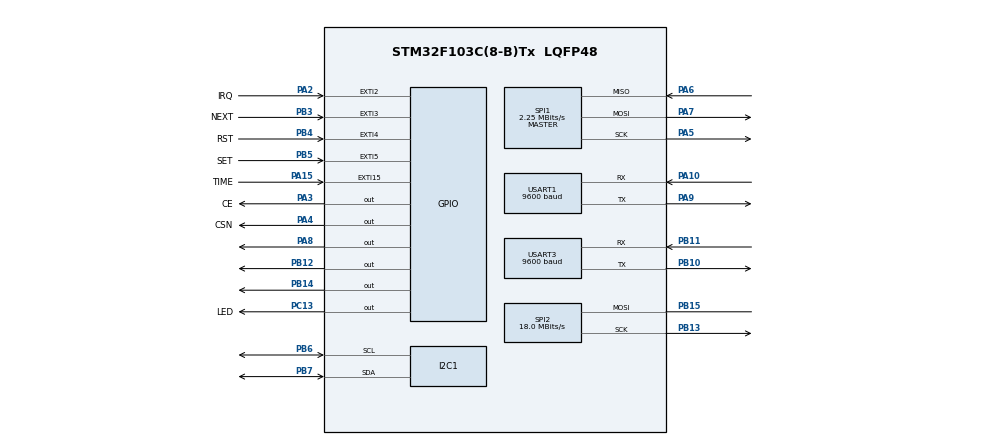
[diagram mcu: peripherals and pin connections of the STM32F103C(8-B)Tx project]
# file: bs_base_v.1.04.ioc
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Mcu.Family=STM32F1
Mcu.Name=STM32F103C(8-B)Tx
Mcu.Package=LQFP48
NVIC.EXTI15_10_IRQn=true\:2\:0\:true\:false\:true\:true\:true\:true
NVIC.EXTI2_IRQn=true\:0\:0\:false\:false\:true\:true\:true\:true
NVIC.EXTI3_IRQn=true\:2\:0\:true\:false\:true\:true\:true\:true
NVIC.EXTI4_IRQn=true\:2\:0\:true\:false\:true\:true\:true\:true
NVIC.EXTI9_5_IRQn=true\:2\:0\:true\:false\:true\:true\:true\:true
NVIC.PriorityGroup=NVIC_PRIORITYGROUP_4
NVIC.TIM1_UP_IRQn=true\:1\:0\:true\:false\:true\:true\:true\:true
NVIC.TIM2_IRQn=true\:1\:0\:true\:false\:true\:true\:true\:true
NVIC.USART1_IRQn=true\:1\:0\:true\:false\:true\:true\:true\:true
PA10.Mode=Asynchronous
PA10.Signal=USART1_RX
PA13.Mode=Serial_Wire
PA13.Signal=SYS_JTMS-SWDIO
PA14.Mode=Serial_Wire
PA14.Signal=SYS_JTCK-SWCLK
PA15.GPIO_Label=TIME
PA15.GPIO_ModeDefaultEXTI=GPIO_MODE_IT_FALLING
PA15.GPIO_PuPd=GPIO_PULLUP
PA15.Signal=GPXTI15
PA2.GPIO_Label=IRQ
PA2.GPIO_ModeDefaultEXTI=GPIO_MODE_IT_FALLING
PA2.Signal=GPXTI2
PA3.GPIO_Label=CE
PA3.Signal=GPIO_Output
PA4.GPIO_Label=CSN
PA4.Signal=GPIO_Output
PA5.Mode=Full_Duplex_Master
PA5.Signal=SPI1_SCK
PA6.Mode=Full_Duplex_Master
PA6.Signal=SPI1_MISO
PA7.Mode=Full_Duplex_Master
PA7.Signal=SPI1_MOSI
PA8.Signal=GPIO_Output
PA9.Mode=Asynchronous
PA9.Signal=USART1_TX
PB10.Mode=Asynchronous
PB10.Signal=USART3_TX
PB11.Mode=Asynchronous
PB11.Signal=USART3_RX
PB12.Signal=GPIO_Output
PB13.Mode=Simplex_Bidirectional_Master
PB13.Signal=SPI2_SCK
PB14.Signal=GPIO_Output
PB15.Mode=Simplex_Bidirectional_Master
PB15.Signal=SPI2_MOSI
PB3.GPIO_Label=NEXT
PB3.GPIO_ModeDefaultEXTI=GPIO_MODE_IT_FALLING
PB3.GPIO_PuPd=GPIO_PULLUP
PB3.Signal=GPXTI3
PB4.GPIO_Label=RST
PB4.GPIO_ModeDefaultEXTI=GPIO_MODE_IT_FALLING
PB4.GPIO_PuPd=GPIO_PULLUP
PB4.Signal=GPXTI4
PB5.GPIO_Label=SET
PB5.GPIO_ModeDefaultEXTI=GPIO_MODE_IT_FALLING
PB5.GPIO_PuPd=GPIO_PULLUP
PB5.Signal=GPXTI5
PB6.Mode=I2C
PB6.Signal=I2C1_SCL
PB7.Mode=I2C
PB7.Signal=I2C1_SDA
PC13-TAMPER-RTC.GPIO_Label=LED
PC13-TAMPER-RTC.Signal=GPIO_Output
PD0-OSC_IN.Mode=HSE-External-Oscillator
PD0-OSC_IN.Signal=RCC_OSC_IN
PD1-OSC_OUT.Mode=HSE-External-Oscillator
PD1-OSC_OUT.Signal=RCC_OSC_OUT
ProjectManager.HeapSize=0x200
ProjectManager.StackSize=0x400
ProjectManager.TargetToolchain=STM32CubeIDE
RCC.ADCPresc=RCC_ADCPCLK2_DIV6
RCC.AHBFreq_Value=72000000
RCC.APB1CLKDivider=RCC_HCLK_DIV2
RCC.APB1Freq_Value=36000000
RCC.APB1TimFreq_Value=72000000
RCC.APB2Freq_Value=72000000
RCC.APB2TimFreq_Value=72000000
RCC.HCLKFreq_Value=72000000
RCC.PLLMUL=RCC_PLL_MUL9
RCC.PLLSourceVirtual=RCC_PLLSOURCE_HSE
RCC.SYSCLKFreq_VALUE=72000000
RCC.SYSCLKSource=RCC_SYSCLKSOURCE_PLLCLK
RCC.USBFreq_Value=72000000
SPI1.BaudRatePrescaler=SPI_BAUDRATEPRESCALER_32
SPI1.CalculateBaudRate=2.25 MBits/s
SPI1.Direction=SPI_DIRECTION_2LINES
SPI1.Mode=SPI_MODE_MASTER
SPI1.VirtualType=VM_MASTER
SPI2.CalculateBaudRate=18.0 MBits/s
SPI2.Direction=SPI_DIRECTION_1LINE
SPI2.Mode=SPI_MODE_MASTER
SPI2.VirtualType=VM_MASTER
TIM1.AutoReloadPreload=TIM_AUTORELOAD_PRELOAD_ENABLE
TIM1.ClockDivision=TIM_CLOCKDIVISION_DIV1
TIM1.Period=7199
TIM1.Prescaler=10000
TIM2.Period=6539
TIM2.Prescaler=10
USART1.BaudRate=9600
USART1.VirtualMode=VM_ASYNC
USART3.BaudRate=9600
USART3.VirtualMode=VM_ASYNC
VP_IWDG_VS_IWDG.Mode=IWDG_Activate
VP_TIM1_VS_ClockSourceINT.Mode=Internal
VP_TIM2_VS_ClockSourceINT.Mode=Internal
board=custom

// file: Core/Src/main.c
/* USER CODE BEGIN Header */
/**
  ******************************************************************************
  * main.c
	*
	* Проект "КомБО" (Открытые системы беспроводной коммуникации)
	* База электронной системы для проведения интеллектуальных игр
	*	Количество игровых кнопок - 20.
	* Основной код программы.
	* Микроконтроллер: stm32f103c8t6
	* Периферия: радиомодуль nrf24l01+, дисплей (LCD2004 или ST7735),
	* кнопки управления (4 шт), mp3 модуль DFPlayer, мост USB-UART.
	*
	* Краткое описание работы:
	* После включения питания, инициализации периферии и переменных производится
	* проверка соединения с радиомодулем, соответствующая сигнализация (вывод
	* информации об устройстве, версия прошивки, статус соединения)
	* Затем всем кнопкам отправляется команда общего сброса.
	* В процессе работы происходит периодическая отправка запросов и команд всем
	* игровым кнопкам, проверка состояний кнопок управления, формирование очереди
	* нажатий, вывод информации на дисплей,
	* При получении ответов на запросы кнопок, фиксируются данные об их состоянии
	* При нажатии кнопки управления "сброс" происходит отправка команды общего
	* сброса всем кнопкам, а также сброс состояния базы - возвращение в исходное
	* состояние.
	* При нажатии кнопки "далее" происходит смещение очереди нажатий.
	* Команды "сброс" и "далее" могут быть также получены по последовательному порту,
	* действия при получении их аналогичны нажатиям соответствующих кнопок управления.
	* При нажатии кнопки "время", запускается таймер отсчета секунд, воспроизводится
	* соответствующий звуковой файл.
	* При нажатии команды "установка" меняется номер файла, воспроизводимого
	* звуковым модулем при обнаружении нажатия игровой кнопки до пуска времени.
	* При обнаружении нажатия игровой кнопки происходит воспроизведение звукового
	* файла и отправка соответствующего кнопке символа в последовательный порт.
	*
  ******************************************************************************
  */
/* USER CODE END Header */
#include "main.h"
#include "i2c.h"
#include "iwdg.h"
#include "spi.h"
#include "tim.h"
#include "usart.h"
#include "gpio.h"

/* USER CODE BEGIN PV */

//переменные и массивы
char str[STRING_SIZE]								= {0};				//строка для вывода в порт
char input_str[STRING_SIZE] 				= {0};				//входящая строка
char char_to_send[NUM_OF_SLAVES] 		= CHARS_LIST;	//массив символов для отправки в порт
uint8_t slave_addrs[NUM_OF_SLAVES] 	= ADRESS_LIST;//массив адресов
uint8_t slave_nums[NUM_OF_SLAVES] 	= NUM_LIST;		//массив номеров

//строки для вывода на дисплей LCD2004
#if NUM_OF_SLAVES == 20

char string_0[] 	= "0123456789abcdefghij";
char string_1[] 	= "                    ";
char string_2[] 	= "                    ";
char string_3[] 	= "            BS KomBO";

#elif NUM_OF_SLAVES == 6

char string_0[] 	= "  1  2  3  4  5  6  ";
char string_1[] 	= "                    ";
char string_2[] 	= "                    ";
char string_3[] 	= "            BS KomBO";

#endif

//строки для вывода на дисплей st7735
char w_string_1[] = "          ";
char w_string_2[] = "          ";

//внешние переменные для работы с радиомодулем
extern uint8_t 					tx_buf[TX_PLOAD_WIDTH];	//буфер передачи
extern uint8_t 					rx_buf[TX_PLOAD_WIDTH];	//буфер приема
extern volatile uint8_t f_rx, f_tx;							//флаги приема и передачи

//структура флагов устройства
volatile Flags_t 			flags;
volatile Variables_t 	vars;

//массив структур данных кнопок
B_data_t							b_data[NUM_OF_SLAVES];

//структура для преобразования данных
float_to_byte_t 			float_to_byte;

/* USER CODE END PV */

void SystemClock_Config(void);

/* USER CODE BEGIN 0 */

//Процедура инициализации переменных, флагов, массивов
void init_variables(void)
{
	flags.rst_push 					= 0;
	flags.nxt_push 					= 0;
	flags.set_push 					= 0;
	flags.time_push 				= 0;
	flags.f_timer 					= 0;

	vars.seconds 						= 0;
	vars.temp_seconds 			= 0;
	vars.millis 						= 0;
	vars.slave_counter 			= 0;
	vars.send_order_count		= 1;
	vars.bounce_count = 0;

	for (uint8_t i = 0; i < NUM_OF_SLAVES; i++)
	{
		b_data[i].number 			= i;
		b_data[i].address 		= slave_addrs[i];
		b_data[i].time 				= MAX_TIME;
		b_data[i].cmd 				= LED_STAT;
		b_data[i].led_status 	= LED_STAT_OFF;
		b_data[i].push_order 	= 0;
		b_data[i].pushed 			= 0;
	}
}

//Процедура расчета контрольной суммы
uint16_t crc16_calc(volatile uint8_t buf[], uint8_t buf_size)
{
	uint16_t	crc = 0;			// возвращаемое значение
	uint16_t	D;						// �?ндекс элемента массива для наложения
	int16_t 	T;						// Элемент массива для наложения, вычисляется на лету
	uint16_t	P = 0x1021;		// Полином - маска

	for (uint8_t i = 0; i < buf_size; i++)
	{
		D = crc >> 8; 				// Сдвиг crc на 8 бит вправо
		D = D ^ buf[i];				// Вычисление индекса элемента массива для наложения

		T = D;								// Вычисление элемента массива
		T = T << 8;        		// Сдвиг элемента массива на 8 бит влево

		for (uint8_t j = 0; j < 8; j++)    // Повторение 8 раз
		{
			if (T < 0)					// Если старший бит = 1
			{
				T = T << 1;				// Сдвиг элемента массива на 1 бит влево
				T = T ^ P;				// Наложение полинома
			}
			else
			{
				T = T << 1;				// Сдвиг элемента массива на 1 бит влево
			}
		}
		crc = crc << 8;				// Сдвиг С на 8 бит влево
		crc = crc ^ T;				// �?сключающе или между С и элементом массива
	}

	return crc;							// Возврат значения crc
}

//Процедура приема радиомодуля
void nrf24l01_receive(void)
{
	if(f_rx)	//если флаг приема поднят (флаг поднимается по внешнему прерыванию от радиомодуля)
	{
		uint16_t temp_crc = crc16_calc(rx_buf, TX_PLOAD_WIDTH - 2);
		uint16_t input_crc = (uint16_t)rx_buf[TX_PLOAD_WIDTH - 1] + (uint16_t)(rx_buf[TX_PLOAD_WIDTH - 2] << 8);
		if (temp_crc == input_crc)
		{
			for (uint8_t i = 0; i < NUM_OF_SLAVES; i++)
			{	//если найден принятый адрес
				if (rx_buf[0] == slave_addrs[i]) 	//если найден принятый адрес
				{
					float_to_byte.char_val[0] = rx_buf[5];
					float_to_byte.char_val[1] = rx_buf[6];
					float_to_byte.char_val[2] = rx_buf[7];
					float_to_byte.char_val[3] = rx_buf[8];
					b_data[i].vcc = float_to_byte.float_val;

					if ((*(uint32_t*)&rx_buf[1]) != NOT_PUSHED)
					{
						uint32_t time = *(uint32_t*)&rx_buf[1];	//преобразуем оставшиеся байты во время

						if (b_data[i].pushed == 0)
						{
							b_data[i].time = time;
						}
					}
					break;
				}
			}
		}
		f_rx = 0;					//опускаем флаг приема
	}
}

//Процедура обновления дисплея
void refresh_display()
{
	#ifdef LCD_2004
		LCD_Clear();

		LCD_SetPos(0,0);
		LCD_String(string_0);
		LCD_SetPos(0,1);
		LCD_String(string_1);
		LCD_SetPos(0,2);
		LCD_String(string_2);
		LCD_SetPos(0,3);
		LCD_String(string_3);
	#endif

	#ifdef ST_7735

		#if NUM_OF_SLAVES == 20

		ST7735_FillScreen(ST7735_BLACK);

		ST7735_Write_W_String(0, 0,  "0123456789", Font_11x18, ST7735_WHITE, ST7735_BLACK);
		ST7735_Write_W_String(0, 50, "abcdefghij", Font_11x18, ST7735_WHITE, ST7735_BLACK);

		ST7735_WriteString(100, 120, "BS KomBO", Font_7x10, ST7735_WHITE, ST7735_BLACK);

		#elif NUM_OF_SLAVES == 6

		ST7735_FillScreen(ST7735_BLACK);

		ST7735_Write_W_String(0, 0,  "  1  2  3  ", Font_11x18, ST7735_WHITE, ST7735_BLACK);
		ST7735_Write_W_String(0, 50, "  4  5  6  ", Font_11x18, ST7735_WHITE, ST7735_BLACK);

		ST7735_WriteString(100, 120, "BS KomBO", Font_7x10, ST7735_WHITE, ST7735_BLACK);

		#endif

	#endif

	}

//Процедура инициализации дисплея
void display_init(void)
{
	#ifdef LCD_2004
		LCD_init();
	#endif

	#ifdef ST_7735
		ST7735_Init();
		ST7735_FillScreen(ST7735_BLACK);
	#endif
}

//Подпрограмма тестирования радиомодуля
uint8_t nrf_test(void)
{
	uint8_t buf_0[TX_ADR_WIDTH] = {0};
	uint8_t buf_1[TX_ADR_WIDTH] = {0};
	uint8_t test_addr_0[TX_ADR_WIDTH] = UNIQUE_ADDRESS_0;
	uint8_t test_addr_1[TX_ADR_WIDTH] = UNIQUE_ADDRESS_1;

	uint8_t err = ERR_OK;

	//читаем значения регистров

	#ifdef MASTER
		nrf24_read_buf(RX_ADDR_P1,buf_0,3);
		nrf24_read_buf(TX_ADDR,buf_1,3);
	#endif

	#ifdef SLAVE
		nrf24_read_buf(RX_ADDR_P1,buf_1,3);
		nrf24_read_buf(TX_ADDR,buf_0,3);
	#endif

	sprintf(str, "TX_ADDR: 0x%02X, 0x%02X, 0x%02X\r\nRX_ADDR: 0x%02X, 0x%02X, 0x%02X\r\n",
	buf_1[0], buf_1[1], buf_1[2], buf_0[0], buf_0[1], buf_0[2]);

	#ifdef DEBUG_MODE
		usart_print(str);
	#endif

	//проверяем значения регистров записанных при инициализации и считанных

	for (uint8_t i = 0; i < TX_ADR_WIDTH; i++)
	{
		if (test_addr_0[i] != buf_0[i]) err = NRF_ERR;
		if (test_addr_1[i] != buf_1[i]) err = NRF_ERR;
	}

	return err;
}

//Процедура тестирования радиомодуля и сигнализации
void test_and_info(uint8_t err)
{
	sprintf(str, "v. %d.%02d", VERSION, SUBVERSION);

	#ifdef DEBUG_MODE
		usart_println(DEV_INFO);
		usart_println(str);
	#endif

	#ifdef LCD_2004
		LCD_SetPos(0,0);
		LCD_String(DEV_INFO);
		LCD_SetPos(0,1);
		LCD_String(str);
	#endif

	#ifdef ST_7735
		ST7735_WriteString(0, 0, DEV_INFO, Font_11x18, ST7735_WHITE, ST7735_BLACK);
		ST7735_WriteString(0, 20, str, Font_11x18, ST7735_WHITE, ST7735_BLACK);
	#endif

	#ifdef DEBUG_MODE
		usart_println(str);
	#endif

	#ifndef DEBUG_MODE
	LL_IWDG_ReloadCounter(IWDG);
	#endif

	err = nrf_test();		//выводим значения регистров в порт

	if (err == ERR_OK)
	{
		sprintf(str, "%s ch = %d", "nrf24 OK ", CHANNEL);

		#ifdef DEBUG_MODE
			usart_println(str);
		#endif

		#ifdef LCD_2004
			LCD_SetPos(0,2);
			LCD_String(str);
		#endif

		#ifdef ST_7735
			ST7735_WriteString(0, 60, "nrf24 OK", Font_11x18, ST7735_WHITE, ST7735_BLACK);
			sprintf(str, "ch = %d", CHANNEL);
			ST7735_WriteString(0, 80, str, Font_11x18, ST7735_WHITE, ST7735_BLACK);
		#endif
	}
	else  if (err == NRF_ERR)
	{
		#ifdef DEBUG_MODE
			usart_println("nrf ERROR");
		#endif

		#ifdef LCD_2004
			LCD_SetPos(0,2);
			LCD_String("nrf ERROR");
		#endif

		#ifdef ST_7735
			ST7735_WriteString(0, 60, "nrf24 ERROR", Font_11x18, ST7735_WHITE, ST7735_BLACK);
		#endif
	}
}

//Процедура сортировки данных по возрастанию
void sort_data(uint32_t *data)
{
	for(uint8_t i = 0 ; i < NUM_OF_SLAVES - 1; i++)
	{
		for(uint8_t j = 0 ; j < NUM_OF_SLAVES - i - 1 ; j++)
		{
			if(data[j] > data[j+1]) 			//сравниваем два соседних элемента.
			{           									//если они идут в неправильном порядке, то
				uint32_t tmp = data[j];			//меняем их местами.
        data[j] = data[j+1];
        data[j+1] = tmp;
      }
    }
  }
}

//Процедура инициализации модуля DWT
void dwt_init(void)
{
	SCB_DEMCR |= CoreDebug_DEMCR_TRCENA_Msk; // разрешаем использовать счётчик
	DWT_CONTROL |= DWT_CTRL_CYCCNTENA_Msk;   // запускаем счётчик
}

//Процедура микросекундной задержки
void delay_us(uint32_t us)
{
	uint32_t us_count_tic =  us * (SystemCoreClock / 1000000); // получаем кол-во тактов за 1 мкс и умножаем на наше значение
	DWT->CYCCNT = 0U; // обнуляем счётчик
	while(DWT->CYCCNT < us_count_tic);
}

//Процедура отправки общей команды сброса
void reset_all(void)
{
	tx_buf[0] = RESET_CMD;	//

	uint16_t temp_crc = crc16_calc(tx_buf, TX_PLOAD_WIDTH - 2);

	tx_buf[TX_PLOAD_WIDTH - 2] = (uint8_t)(temp_crc >> 8);
	tx_buf[TX_PLOAD_WIDTH - 1] = (uint8_t)temp_crc;

	nrf24_send(tx_buf);						//отправляем посылку в эфир
}

//Процедура псевдослучайного перемешивания данных
void data_mix(uint8_t *data)
{
	uint8_t temp_data[NUM_OF_SLAVES];
	uint8_t i_rnd;

	//прибавляем ко всем элементам 1 потому что алгоритм предполагает отсутствие нулей
	for(uint8_t i = 0; i < NUM_OF_SLAVES; i++)
	{
			if (data[i] != 0xFF) data[i] = data[i] + 1;
	}

	for(uint8_t i = 0 ; i < NUM_OF_SLAVES; i++)
	{
		i_rnd = rand()%NUM_OF_SLAVES;	//генерируем случайный индекс

		while (data[i_rnd] == 0)			//в случае если элемент массива с полученным индексом нулевой
		{
				i_rnd = rand()%NUM_OF_SLAVES;		//генерируем новый случайный индекс пока не найдем ненулевой элемент
		}
		if (data[i_rnd] != 0)
		{
				temp_data[i] = data[i_rnd];	//записываем случайный элемент массива во временный массив
				data[i_rnd] = 0;						//обнуляем сохраненный элемент
		}
	}

	//копируем перемешанные элементы массива обратно в исходный массив, вычитаем единицу
	for(uint8_t i = 0; i < NUM_OF_SLAVES; i++)
	{
			if (data[i] != 0xFF) data[i] = temp_data[i] - 1;
	}
}

//Процедура реализации команды "сброс"
void rst_push(void)
{
	reset_all();		//отправляем команду общего сброса всем кнопкам

	f_rx = 0;					//опускаем флаг приема

	//приводим в исходное состояние дисплей
	#ifdef LCD_2004
		LCD_Clear();
		refresh_display();
	#endif

	#ifdef ST_7735
		refresh_display();
		for (uint8_t i = 0; i < 10; i++)
		{
			w_string_1[i] = ' ';
			w_string_2[i] = ' ';
		}
	#endif

	//перемешаваем массив с номерами кнопок
	data_mix(slave_nums);
	//приводим все переменные в исходное состояние
	init_variables();
	//делаем паузу
	LL_mDelay(SCAN_PERIOD * 5);
}

//Процедура команды "установка"
void set_push(void)
{
	//присваиваем новое значение переключателя звуковых файлов
	vars.sound_switch++;
	if (vars.sound_switch >= 5) vars.sound_switch = 0;

	//отображаем на дисплее название нового звука
	#ifdef LCD_2004
		switch (vars.sound_switch)
		{
			case 0:
				LCD_SetPos(12,2);
				LCD_String("shoot   ");
			break;
			case 1:
				LCD_SetPos(12,2);
				LCD_String("open    ");
			break;
			case 2:
				LCD_SetPos(12,2);
				LCD_String("svist   ");
			break;
			case 3:
				LCD_SetPos(12,2);
				LCD_String("falstart");
			break;
			case 4:
				LCD_SetPos(12,2);
				LCD_String("zvon    ");
			break;
		}
	#endif

	#ifdef ST_7735
		switch (vars.sound_switch)
		{
			case 0:
				ST7735_WriteString(0, 90, "shoot   ", Font_7x10, ST7735_WHITE, ST7735_BLACK);
			break;
			case 1:
				ST7735_WriteString(0, 90, "open    ", Font_7x10, ST7735_WHITE, ST7735_BLACK);
			break;
			case 2:
				ST7735_WriteString(0, 90, "svist   ", Font_7x10, ST7735_WHITE, ST7735_BLACK);
			break;
			case 3:
				ST7735_WriteString(0, 90, "falstart", Font_7x10, ST7735_WHITE, ST7735_BLACK);
			break;
			case 4:
				ST7735_WriteString(0, 90, "zvon    ", Font_7x10, ST7735_WHITE, ST7735_BLACK);
			break;
		}
	#endif

}

//Процедура выполнения команды "время"
void time_push(void)
{
	flags.f_timer = 1;		//поднимаем флаг таймера
	vars.seconds = 0;			//обнуляем счетчик секунд
	//Выводим на дисплей значение времени
	#ifdef LCD_2004
		LCD_SetPos(0,2);
		LCD_String(string_2);	//очищаем строку
		sprintf(str, "%02d:%02d", (uint8_t)vars.seconds/60, (uint8_t)vars.seconds%60);
		LCD_SetPos(0,2);
		LCD_String(str);
	#endif

	#ifdef ST_7735
		sprintf(str, "%02d:%02d", vars.seconds/60, vars.seconds%60);
		ST7735_WriteString(0, 110, str, Font_11x18, ST7735_WHITE, ST7735_BLACK);
	#endif
	//воспроизводим нужный звуковой айл
	mp3_play(MP3_START);
}

//Процедура формирования очереди нажатий
void order_processing(void)
{
	uint32_t time_to_sort[NUM_OF_SLAVES];
	//uint32_t buts_to_sort[NUM_OF_SLAVES];

	uint8_t flag_order[NUM_OF_SLAVES] = {0};

	uint8_t order = 0;
	//uint8_t number = 0;

	//копируем времена кнопок для сортировки
	for(uint8_t i = 0 ; i < NUM_OF_SLAVES; i++)
	{
		time_to_sort[i] = b_data[i].time;
	}
	//сортируем времена
	sort_data(time_to_sort);

	//находим
	for(uint8_t i = 0 ; i < NUM_OF_SLAVES; i++)
	{
		for(uint8_t j = 0 ; j < NUM_OF_SLAVES; j++)
		{
			//в качестве индекса номер из перемешанного массива для обеспечения более объективного выбора очередности при совпадении времен
			//если время кнопки сопадает со следующим по величине, точно нажималась и соответствующий флаг учета очереди не поднят
			if ((b_data[slave_nums[j]].time == time_to_sort[i]) && (b_data[slave_nums[j]].time != MAX_TIME) && (!flag_order[slave_nums[j]]) )
			{
				order++;																	//переходим к следующему значению очереди
				b_data[slave_nums[j]].push_order = order;	//присваиваем соответствующий номер в очереди кнопке
				flag_order[slave_nums[j]] = 1;						//поднимаем флаг учета
			}
		}
	}

	//отсылаем в последовательный порт символы в нужной последовательности
	for(uint8_t i = 0 ; i < NUM_OF_SLAVES; i++)
	{
		//если номер в очереди соответствует текущему значению счетчика очереди и кнопка нажималась
		if ((b_data[i].push_order == vars.send_order_count) && (b_data[i].time != MAX_TIME))
		{
			sprintf(str,"%c",char_to_send[i]);
			usart_print(str);					//высылаем символ в порт
			vars.send_order_count++;	//увеличиваем значение счетчика
		}
	}

	//расставляем состояния кнопок для отправки и выводим очередь на дисплей
	for(uint8_t i = 0 ; i < NUM_OF_SLAVES; i++)
	{
		if (b_data[i].push_order != 0)
		{
			if (b_data[i].push_order == 1)
			{
				b_data[i].led_status = LED_STAT_TGL;	//первому в очереди - моргать
			}
			else
			{
				b_data[i].led_status = LED_STAT_ON;		//оставшиеся нажатые - зажечь
			}
			//выводим данные на дисплей

			#if NUM_OF_SLAVES == 20

				#ifdef LCD_2004
					LCD_SetPos(b_data[i].number, 1);
					LCD_SendChar(char_to_send[b_data[i].push_order - 1]);
				#endif

				#ifdef ST_7735
					if (i < 10)
					{
						w_string_1[i] = char_to_send[b_data[i].push_order - 1];
						ST7735_Write_W_String(0, 20, w_string_1, Font_11x18, ST7735_YELLOW, ST7735_BLACK);
					}
					else
					{
						w_string_2[i-10] = char_to_send[b_data[i].push_order - 1];
						ST7735_Write_W_String(0, 70, w_string_2, Font_11x18, ST7735_YELLOW, ST7735_BLACK);
					}
				#endif

			#elif NUM_OF_SLAVES == 6

				#ifdef LCD_2004
					LCD_SetPos(b_data[i].number*3 + 2, 1);
					LCD_SendChar(char_to_send[b_data[i].push_order - 1]);
				#endif

				#ifdef ST_7735
					if (i < 4)
					{
						w_string_1[i*3 + 2] = char_to_send[b_data[i].push_order - 1];
						ST7735_Write_W_String(0, 20, w_string_1, Font_11x18, ST7735_YELLOW, ST7735_BLACK);
					}
					else
					{
						w_string_2[i*3 + 2 - 10] = char_to_send[b_data[i].push_order - 1];
						ST7735_Write_W_String(0, 70, w_string_2, Font_11x18, ST7735_YELLOW, ST7735_BLACK);
					}
				#endif

			#endif

			//воспроизводим звук нажатия в зависимости от состояния таймера и настроек
			if (!b_data[i].pushed)
			{
				b_data[i].pushed = 1;

				if (flags.f_timer)
				{
					mp3_play(MP3_ANSWER);
				}
				else
				{
					switch (vars.sound_switch)
					{
						case 0:
							mp3_play(MP3_SHOOT);
						break;
						case 1:
							mp3_play(MP3_ANSWER);
						break;
						case 2:
							mp3_play(MP3_SVIST);
						break;
						case 3:
							mp3_play(MP3_FALSTART);
						break;
						case 4:
							mp3_play(MP3_ZVON);
						break;
					}
				}
			}
		}
	}
}

//Процедура выполнения команды "далее"
void nxt_push(void)
{
	for(uint8_t i = 0 ; i < NUM_OF_SLAVES; i++)
	{
		//находим первого в очереди
		if (b_data[i].push_order == 1)
		{
			b_data[i].push_order = 0;						//обнуляем значение номера в очереди
			b_data[i].time = MAX_TIME;					//устанавливаем стандартное значение времени
			b_data[i].led_status = LED_STAT_OFF;//записываем команду на выключения для отправки
		}
		else if (b_data[i].push_order > 1) 		//уменьшаем номер в очереди всем остальным в очереди
		{
			b_data[i].push_order--;
		}
	}

	//очищаем отображение очереди на дисплее
	#ifdef LCD_2004
		LCD_SetPos(0,1);
		LCD_String(string_1);
	#endif

	#ifdef ST_7735
		ST7735_Write_W_String(0, 20, w_string_1, Font_11x18, ST7735_BLACK, ST7735_BLACK);
		ST7735_Write_W_String(0, 70, w_string_2, Font_11x18, ST7735_BLACK, ST7735_BLACK);
	#endif

	//формируем новую очередь
	//order_processing();

	//LL_mDelay(200); //пауза против дребезга кнопки
}
/* USER CODE END 0 */

int main(void)
{

  /* USER CODE BEGIN 1 */
	uint8_t err = ERR_OK;
	//задаем звуковой сигнал по умолчанию
	vars.sound_switch = 0;
  /* USER CODE END 1 */

  /* MCU Configuration--------------------------------------------------------*/

  /* Reset of all peripherals, Initializes the Flash interface and the Systick. */
  HAL_Init();

  /* Configure the system clock */
  SystemClock_Config();

  /* Initialize all configured peripherals */
  MX_GPIO_Init();
  MX_SPI1_Init();
  MX_USART1_UART_Init();
  MX_TIM1_Init();
  MX_I2C1_Init();
  MX_TIM2_Init();
  MX_SPI2_Init();
  MX_USART3_UART_Init();
  //MX_IWDG_Init();
  /* USER CODE BEGIN 2 */

	dwt_init();					//инициализируем dwt
	spi_init();					//инициализируем SPI
	nrf24_init();				//инициализируем радиомодуль
	usart_init(103);		//инициализируем USART

	display_init();			//инициализируем дисплей

	test_and_info(err);	//тестируем радиомодуль и выводим информацию

	#ifndef DEBUG_MODE
		LL_IWDG_ReloadCounter(IWDG);
	#endif

	mp3_init();					//инициализируем звуковой модуль

	refresh_display();	//обновляем дисплей

	//разрешаем прерывания, запускаем таймеры
	LL_TIM_EnableIT_UPDATE(TIM1);
	LL_TIM_EnableCounter(TIM1);
	LL_TIM_EnableIT_UPDATE(TIM2);
	LL_TIM_EnableCounter(TIM2);
	LL_USART_EnableIT_RXNE(USART1);

	//инициализируем переменные
	init_variables();

	//отправляем команду общего сброса
	reset_all();

	//устанавливаем громкость звукового модуля
	mp3_volume(15);

  /* USER CODE END 2 */

  /* Infinite loop */
  /* USER CODE BEGIN WHILE */
  while (1)
  {
		//проверяем флаг сброса
		if (flags.rst_push)			//если поднят флаг
		{
			flags.rst_push = 0;		//опускаем флаг
			rst_push();						//выполняем команду "сброс"
		}

		//следующий блок выполняется с указанной периодичностью
		if ((vars.millis - vars.temp_millis) > SCAN_PERIOD)
		{
			vars.temp_millis = vars.millis;

			tx_buf[0] = b_data[vars.slave_counter].address;	//записываем в буфер очередной адрес
			tx_buf[1] = b_data[vars.slave_counter].cmd;
			tx_buf[2] = b_data[vars.slave_counter].led_status;

			uint16_t temp_crc = crc16_calc(tx_buf, TX_PLOAD_WIDTH - 2);

			tx_buf[TX_PLOAD_WIDTH - 2] = (uint8_t)(temp_crc >> 8);
			tx_buf[TX_PLOAD_WIDTH - 1] = (uint8_t)temp_crc;

			nrf24_send(tx_buf);						//отправляем посылку в эфир

			vars.slave_counter++;

			if (vars.slave_counter >= NUM_OF_SLAVES)
			{
				vars.slave_counter = 0;

				if (flags.nxt_push == 1)
				{
					flags.nxt_push = 2;
					nxt_push();
				}

				if (flags.set_push)
				{
					flags.set_push = 0;
					set_push();
				}

				if (flags.time_push)
				{
					flags.time_push = 0;
					time_push();
				}

				order_processing();
			}

			if (flags.nxt_push == 2)
			{
				vars.bounce_count++;
				if (vars.bounce_count >= BOUNCE_OFFSET)
				{
					vars.bounce_count = 0;
					flags.nxt_push = 0;
				}
			}

			if (flags.f_timer)	//если секундный таймер запущен
			{
				//если прошла секунда
				if ((vars.seconds - vars.temp_seconds) > 0)
				{
					uint8_t dec = vars.seconds/60;
					uint8_t ed = vars.seconds%60;
					vars.temp_seconds = vars.seconds;

					//отображаем текущее время на дисплее
					#ifdef LCD_2004
						sprintf(str, "%02d:%02d", dec, ed);
						LCD_SetPos(0,2);
						LCD_String(str);
					#endif

						#ifdef ST_7735
						sprintf(str, "%02d:%02d", vars.seconds/60, vars.seconds%60);
						ST7735_WriteString(0, 110, str, Font_11x18, ST7735_WHITE, ST7735_BLACK);
					#endif
				}
			}
		}

		nrf24l01_receive();		//прием

    /* USER CODE END WHILE */

    /* USER CODE BEGIN 3 */
		#ifndef DEBUG_MODE
		LL_IWDG_ReloadCounter(IWDG);
		#endif
  }
  /* USER CODE END 3 */
}

void SystemClock_Config(void)
{
  LL_FLASH_SetLatency(LL_FLASH_LATENCY_2);
  while(LL_FLASH_GetLatency()!= LL_FLASH_LATENCY_2)
  {
  }
  LL_RCC_HSE_Enable();

   /* Wait till HSE is ready */
  while(LL_RCC_HSE_IsReady() != 1)
  {

  }
  LL_RCC_LSI_Enable();

   /* Wait till LSI is ready */
  while(LL_RCC_LSI_IsReady() != 1)
  {

  }
  LL_RCC_PLL_ConfigDomain_SYS(LL_RCC_PLLSOURCE_HSE_DIV_1, LL_RCC_PLL_MUL_9);
  LL_RCC_PLL_Enable();

   /* Wait till PLL is ready */
  while(LL_RCC_PLL_IsReady() != 1)
  {

  }
  LL_RCC_SetAHBPrescaler(LL_RCC_SYSCLK_DIV_1);
  LL_RCC_SetAPB1Prescaler(LL_RCC_APB1_DIV_2);
  LL_RCC_SetAPB2Prescaler(LL_RCC_APB2_DIV_1);
  LL_RCC_SetSysClkSource(LL_RCC_SYS_CLKSOURCE_PLL);

   /* Wait till System clock is ready */
  while(LL_RCC_GetSysClkSource() != LL_RCC_SYS_CLKSOURCE_STATUS_PLL)
  {

  }
  LL_SetSystemCoreClock(72000000);

   /* Update the time base */
  if (HAL_InitTick (TICK_INT_PRIORITY) != HAL_OK)
  {
    Error_Handler();
  }
}

/* USER CODE BEGIN 4 */

//обработка прерывания по нажатию кнопки "сброс"
void rst_callback(void)
{
	if (!LL_GPIO_IsInputPinSet(RST_GPIO_Port, RST_Pin))	//если состояние входа - 0, кнопка нажата
	{
		flags.rst_push = 1;	//поднимаем флаг нажатия
	}
}

//обработка прерывания по нажатию кнопки "далее"
void nxt_callback(void)
{
	if (!LL_GPIO_IsInputPinSet(NEXT_GPIO_Port, NEXT_Pin))	//если состояние входа - 0, кнопка нажата
	{
		if (flags.nxt_push == 0)
		{
			flags.nxt_push = 1;	//поднимаем флаг нажатия
		}
	}
}

//обработка прерывания по нажатию кнопки "установка"
void set_callback(void)
{
	if (!LL_GPIO_IsInputPinSet(SET_GPIO_Port, SET_Pin))	//если состояние входа - 0, кнопка нажата
	{
		flags.set_push = 1;	//поднимаем флаг нажатия
	}
}

//обработка прерывания по нажатию кнопки "время"
void time_callback(void)
{
	if (!LL_GPIO_IsInputPinSet(TIME_GPIO_Port, TIME_Pin))	//если состояние входа - 0, кнопка нажата
	{
		flags.time_push = 1;	//поднимаем флаг нажатия
	}
}

//обработка прерывания таймера 1
void tim1_callback(void)
{
	if(LL_TIM_IsActiveFlag_UPDATE(TIM1))			//если флаг прерывания т/с
	{
		LL_TIM_ClearFlag_UPDATE(TIM1);					//опускаем флаг прерывания
		vars.seconds++;													//считаем секунду
	}
}

//обработка прерывания таймера 2
void tim2_callback(void)
{
	if(LL_TIM_IsActiveFlag_UPDATE(TIM2))			//если флаг прерывания таймера поднят
	{
		LL_TIM_ClearFlag_UPDATE(TIM2);					//опускаем флаг прерывания
		vars.millis++;													//считаем милисекунду
	}
}

/* USER CODE END 4 */

void Error_Handler(void)
{
  __disable_irq();
  while (1)
  {
  }
}
